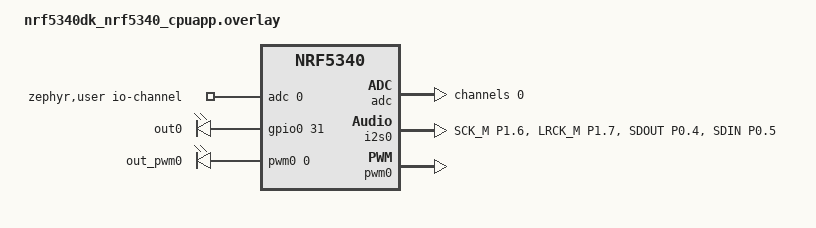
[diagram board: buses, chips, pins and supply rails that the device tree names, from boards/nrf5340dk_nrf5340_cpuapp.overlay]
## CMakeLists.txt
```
#
# Copyright (c) 2018 Nordic Semiconductor
#
# SPDX-License-Identifier: LicenseRef-Nordic-5-Clause
#
cmake_minimum_required(VERSION 3.20.0)

find_package(Zephyr REQUIRED HINTS $ENV{ZEPHYR_BASE})
project(app)

target_sources(app PRIVATE
  src/main.c
  src/app_peripherals.c
  src/app_threads.c
  src/app_config.c
  src/pwm_drv/pwm_drv.c
  src/adc_drv/adc_drv.c
  src/i2s_drv/i2s_drv.c
  src/audio/audio.c
  src/adc_drv/vendor/nordic/nrf_adc_drv.c
  src/examples/i2s_sample/i2s_sample.c
)

include_directories(${CMAKE_SOURCE_DIR}/src)

zephyr_library_include_directories(
  src/
  src/audio/
  src/pwm_drv/
  src/adc_drv/
  src/i2s_drv/
  src/adc_drv/vendor/nordic/
  src/examples/i2s_sample/
)
```

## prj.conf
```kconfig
#
# Copyright (c) 2018 Nordic Semiconductor
#
# SPDX-License-Identifier: LicenseRef-Nordic-5-Clause
#

### Logger module
CONFIG_LOG=y
CONFIG_UART_CONSOLE=y

### RTOS settings
CONFIG_POLL=y # For signal events

# Zephyr peripheral drivers
CONFIG_GPIO=y
CONFIG_PWM=y
CONFIG_I2S=y
CONFIG_ADC=n # Confilcts when CONFIG_NRFX_SAADC is used
CONFIG_ADC_ASYNC=n # Confilcts when CONFIG_NRFX_SAADC is used

### NRF perpheral drivers
# Configure SAADC to work in continuos mode triggered by TIMER2
# and with GPPI events and tasks manager between SAADC and TIMER2 
CONFIG_NRFX_SAADC=y
CONFIG_NRFX_GPPI=y
CONFIG_NRFX_TIMER2=y

CONFIG_MAIN_THREAD_PRIORITY=8
```

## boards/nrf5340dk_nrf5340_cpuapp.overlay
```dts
// To get started, press Ctrl+Space to bring up the completion menu and view the available nodes.

// You can also use the buttons in the sidebar to perform actions on nodes.
// Actions currently available include:

// * Enabling / disabling the node
// * Adding the bus to a bus
// * Removing the node
// * Connecting ADC channels

// For more help, browse the DeviceTree documentation at https: //docs.zephyrproject.org/latest/guides/dts/index.html
// You can also visit the nRF DeviceTree extension documentation at https: //docs.nordicsemi.com/bundle/nrf-connect-vscode/page/guides/ncs_configure_app.html#devicetree-support-in-the-extension

/ {
	zephyr,user {
		io-channels = <&adc 0>; // ADC peripheral channel 0
	};

	outputs {
		compatible = "gpio-leds";
		out0: out {
			gpios = <&gpio0 31 GPIO_ACTIVE_HIGH>;
			status = "okay";
		};
	};

	outputs_pwm {
		compatible = "pwm-leds";
		out_pwm0: out_pwm_0 {
			pwms = <&pwm0 0 PWM_MSEC(20) PWM_POLARITY_INVERTED>;
		};
	};

};

&adc {
	#address-cells = <1>; // Identify the number of cells (each cell is 32bits address) to identify a child node in the devicetree
	#size-cells = <0>; // Identify the dimension of each cell (0 means no dimension, no memory is associated to an ADC channel in the devicetree)

	channel@0 {
		reg = <0>; // channel0 address inside adc node (32bit), no dimension is specified
		zephyr,gain = "ADC_GAIN_1";
		zephyr,reference = "ADC_REF_INTERNAL";
		zephyr,acquisition-time = <ADC_ACQ_TIME_DEFAULT>;
		zephyr,resolution = <12>;
		zephyr,input-positive = <NRF_SAADC_AIN2>;
	};
};

&pinctrl {
	i2s0_default_alt: i2s0_default_alt {
		group1 {
			psels = <NRF_PSEL(I2S_SCK_M, 1, 6)>,
			        <NRF_PSEL(I2S_LRCK_M, 1, 7)>,
			        <NRF_PSEL(I2S_SDOUT, 0, 4)>,
			        <NRF_PSEL(I2S_SDIN, 0, 5)>;
		};
	};
};

&i2s0 {
	status = "okay";
	pinctrl-0 = <&i2s0_default_alt>;
	pinctrl-names = "default";
	clock-source = "ACLK";
};

&clock {
	hfclkaudio-frequency = <11289600>;
};

&gpio0 {
	status = "okay";
};

&pwm0 {
	status = "okay";
};
```

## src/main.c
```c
#define SYNTHETIZER 0
#define SIG_GENERATOR 2

/* System */
#include <zephyr/kernel.h>
#include <zephyr/devicetree.h>
#include <zephyr/device.h>
/* Debug support */
#include <zephyr/sys/printk.h>
/* Zephyr peripheral drivers */
#include <zephyr/drivers/gpio.h>
/* Custom peripheral drivers */
#include "pwm_drv.h"

/* Apps */
#if (SYNTHETIZER == 1)
#include "i2s_sample.h"
#else
#include "audio.h"
#endif

/* Support */
#include <math.h>

/* PWM data structure */
const struct pwm_dt_spec out_pwm = PWM_DT_SPEC_GET(DT_NODELABEL(out_pwm0));

/* GPIO data structures */
static const struct gpio_dt_spec out = GPIO_DT_SPEC_GET(DT_NODELABEL(out0), gpios);

/* Static function prototypes */
static int periph_config(void);

/* I2S data structures */
#if (SYNTHETIZER == 1)
const struct device *my_i2s_dev = DEVICE_DT_GET(DT_NODELABEL(i2s0));
#endif

/**
 * @brief main
 *
 * @return int
 */
int main(void)
{
	if (periph_config() < 0)
	{
		printk("Error\n");
		return 1;
	}

#if (SIG_GENERATOR == 1)
	pwm_drv_sin_gen(1000);

	while (1)
	{
		pwm_drv_sig_out(&out_pwm);
	}
#else

#if (SYNTHETIZER == 1)
	i2s_sample_config(my_i2s_dev);
	i2s_sample(my_i2s_dev);
#else
	audio_process();
#endif

	k_sleep(K_FOREVER);
	while (1)
	{
	}
#endif

	return 1;
}

static int periph_config(void)
{
	if (!gpio_is_ready_dt(&out))
	{
		printk("Error: PWM device is not ready\n");
		return -1;
	}

	if (gpio_pin_configure_dt(&out, GPIO_OUTPUT_ACTIVE) != 0)
	{
		printk("Errore configurazione pin\n");
		return -1;
	}

#if (SIG_GENERATOR == 1)
	if (pwm_drv_config(&out_pwm) < 0)
	{
		printk("Error: PWM device is not ready\n");
		return -1;
	}
#endif
	return 0;
}
```

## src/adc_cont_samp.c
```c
#include <zephyr/kernel.h>
#include <zephyr/sys/printk.h>

/* Include header for nrfx drivers */
#include <nrfx_saadc.h>
#include <nrfx_timer.h>
#include <helpers/nrfx_gppi.h>
#if defined(DPPI_PRESENT)
#include <nrfx_dppi.h>
#else
#include <nrfx_ppi.h>
#endif

#include "adc_cont_samp.h"

#define SAADC_BUFFER_SIZE 1
#define SAADC_SAMPLE_INTERVAL_US 5
#define TIMER_INSTANCE_NUMBER 2
#define SAADC_INPUT_PIN NRF_SAADC_INPUT_AIN0

const nrfx_timer_t timer_instance = NRFX_TIMER_INSTANCE(TIMER_INSTANCE_NUMBER);          // Timer 2 instance
static nrfx_saadc_channel_t channel = NRFX_SAADC_DEFAULT_CHANNEL_SE(SAADC_INPUT_PIN, 0); // Channel 0 default config
static int16_t saadc_sample_buffer[2][SAADC_BUFFER_SIZE];
static uint32_t saadc_current_buffer = 0;

static int timer_config(void);
static int saadc_config(void);
static int configure_ppi(void);

volatile int32_t average = 0;

static void saadc_event_handler(nrfx_saadc_evt_t const *p_event)
{
    nrfx_err_t err;
    switch (p_event->type)
    {
    case NRFX_SAADC_EVT_READY: // First buffer initialized event

        /* Enable timer (this also enable the sampling triggered by the PPI) */
        nrfx_timer_enable(&timer_instance);
        break;

    case NRFX_SAADC_EVT_BUF_REQ: // A buffer has been required by the ADC

        /* Set up the next available buffer. Alternate between buffer 0 and 1 */
        err = nrfx_saadc_buffer_set(saadc_sample_buffer[(saadc_current_buffer++) % 2], SAADC_BUFFER_SIZE);
        if (err != NRFX_SUCCESS)
        {
            printk("ADC; buffer set error\r\n");
            return;
        }
        break;

    case NRFX_SAADC_EVT_DONE: // A buffer has been filled
/*
        // Mesure the average ADC value inside the buffer 
        int16_t max = INT16_MIN;
        int16_t min = INT16_MAX;
        int16_t current_value;
        for (int i = 0; i < p_event->data.done.size; i++)
        {
            current_value = ((int16_t *)(p_event->data.done.p_buffer))[i];
            average += current_value;
            if (current_value > max)
            {
                max = current_value;
            }
            if (current_value < min)
            {
                min = current_value;
            }
        }
        average = average / p_event->data.done.size;
        printk("ADC; average = %d\r\n", average);
        break;
        */
    default:
        printk("ADC; event error\r\n");
        break;
    }
}

void adc_continuos_sampling_sample(void)
{
    timer_config();
    saadc_config();
    configure_ppi();
}

static int timer_config(void)
{
    nrfx_err_t err;

    nrfx_timer_config_t timer_config = NRFX_TIMER_DEFAULT_CONFIG(1000000); // Timer frequency
    err = nrfx_timer_init(&timer_instance, &timer_config, NULL);           // The third parameter is the reference to the event handler (NULL if none)
    if (err != NRFX_SUCCESS)
    {
        printk("TIMER; init error\r\n");
        return -1;
    }

    uint32_t timer_ticks = nrfx_timer_us_to_ticks(&timer_instance, SAADC_SAMPLE_INTERVAL_US);
    nrfx_timer_extended_compare(&timer_instance, NRF_TIMER_CC_CHANNEL0, timer_ticks, NRF_TIMER_SHORT_COMPARE0_CLEAR_MASK, false); // Compare the timer value with the number of ticks passed and creates an event, also specify an action (reset the timer)

    return 0;
}

static int saadc_config(void)
{
    nrfx_err_t err;

    /* Connect ADC interrupt to nrfx interrupt handler */
    IRQ_CONNECT(DT_IRQN(DT_NODELABEL(adc)),           // Extract irq number
                DT_IRQ(DT_NODELABEL(adc), priority),  // Extract irq priority
                nrfx_isr, nrfx_saadc_irq_handler, 0); // Connect the interrupt to the nrf interrupt handler

    err = nrfx_saadc_init(DT_IRQ(DT_NODELABEL(adc), priority));
    if (err != NRFX_SUCCESS)
    {
        printk("ADC; init error\r\n");
        return -1;
    }

    channel.channel_config.gain = NRF_SAADC_GAIN1_6;
    err = nrfx_saadc_channels_config(&channel, 1);
    if (err != NRFX_SUCCESS)
    {
        printk("ADC; channel config error\r\n");
        return -1;
    }

    nrfx_saadc_adv_config_t saadc_adv_config = NRFX_SAADC_DEFAULT_ADV_CONFIG; // ADC default advanced config
    err = nrfx_saadc_advanced_mode_set(BIT(0),
                                       NRF_SAADC_RESOLUTION_12BIT,
                                       &saadc_adv_config,
                                       saadc_event_handler); // If NULL it will work in blocking mode
    if (err != NRFX_SUCCESS)
    {
        printk("ADC; advanced config error\r\n");
        return -1;
    }

    /* Buffer 1 */
    err = nrfx_saadc_buffer_set(saadc_sample_buffer[0], SAADC_BUFFER_SIZE);
    if (err != NRFX_SUCCESS)
    {
        printk("ADC; buffer set error\r\n");
        return -1;
    }

    /* Buffer 2 */
    err = nrfx_saadc_buffer_set(saadc_sample_buffer[1], SAADC_BUFFER_SIZE);
    if (err != NRFX_SUCCESS)
    {
        printk("ADC; buffer set error\r\n");
        return -1;
    }

    /* Set a buffer for sampling triggered later through PPI */
    err = nrfx_saadc_mode_trigger();
    if (err != NRFX_SUCCESS)
    {
        printk("ADC; ADC trigger error\r\n");
        return -1;
    }

    return 0;
}

static int configure_ppi(void)
{
    nrfx_err_t err;
    /* Declare variables used to hold the (D)PPI channel number */
    uint8_t m_saadc_sample_ppi_channel;
    uint8_t m_saadc_start_ppi_channel;

    /* Trigger ADC SAMPLE TASK */
    err = nrfx_gppi_channel_alloc(&m_saadc_sample_ppi_channel);
    if (err != NRFX_SUCCESS)
    {
        printk("ADC; task trigger error\r\n");
        return -1;
    }

    /* Trigger ADC START task */
    err = nrfx_gppi_channel_alloc(&m_saadc_start_ppi_channel);
    if (err != NRFX_SUCCESS)
    {
        printk("ADC; task trigger error\r\n");
        return -1;
    }

    /* Trigger task sample from timer */
    nrfx_gppi_channel_endpoints_setup(m_saadc_sample_ppi_channel,
                                      nrfx_timer_compare_event_address_get(&timer_instance, NRF_TIMER_CC_CHANNEL0), // Set COMPARE0 timer event as trigger
                                      nrf_saadc_task_address_get(NRF_SAADC, NRF_SAADC_TASK_SAMPLE));                // Set SAMPLE ADC task as action

    /* Trigger task start from end event */
    nrfx_gppi_channel_endpoints_setup(m_saadc_start_ppi_channel,
                                      nrf_saadc_event_address_get(NRF_SAADC, NRF_SAADC_EVENT_END),  // Set END ADC event as trigger (the current buffer is full, BUFF_REQ event is triggerd)
                                      nrf_saadc_task_address_get(NRF_SAADC, NRF_SAADC_TASK_START)); // Set START ADC task as action (start sampling again)

    /* Enable both (D)PPI channels */
    nrfx_gppi_channels_enable(BIT(m_saadc_sample_ppi_channel));
    nrfx_gppi_channels_enable(BIT(m_saadc_start_ppi_channel));

    return 0;
}
```

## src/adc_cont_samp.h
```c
void adc_continuos_sampling_sample(void);
```

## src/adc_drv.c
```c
/* System */
#include <zephyr/devicetree.h>
#include <zephyr/device.h>

#if CONFIG_NRFX_TIMER2 /** TODO should be configurable the timer */
#include <nrfx_timer.h>
#endif
#ifdef CONFIG_NRFX_GPPI
#include <helpers/nrfx_gppi.h>
#if defined(DPPI_PRESENT)
#include <nrfx_dppi.h>
#else
#include <nrfx_ppi.h>
#endif
#endif

#include "adc_drv.h"

#define SAADC_SAMPLE_INTERVAL_US 5
#define TIMER_INSTANCE_NUMBER 2

#if CONFIG_NRFX_TIMER2 /** TODO should be configurable the timer */
/** TODO
 * Hardwired
 */
const nrfx_timer_t timer_instance = NRFX_TIMER_INSTANCE(TIMER_INSTANCE_NUMBER); // Timer 2 instance
#endif

#ifndef CONFIG_ADC
static int adc_drv_adv_config(adc_handler_t *adc_handler);
#endif
#ifdef CONFIG_NRFX_TIMER2
static int adc_drv_adv_timer_config(void);
#endif
#ifdef CONFIG_NRFX_GPPI
static int adc_drv_adv_ppi_configure(void);
#endif

adc_drv_adv_buffer_settings_t *saadc_buffer;
static uint32_t saadc_current_buffer = 0;

static void saadc_event_handler(nrfx_saadc_evt_t const *p_event)
{
	nrfx_err_t err;
	switch (p_event->type)
	{
	case NRFX_SAADC_EVT_READY: // First buffer initialized event

		/* Enable timer (this also enable the sampling triggered by the PPI) */
		nrfx_timer_enable(&timer_instance);
		break;

	case NRFX_SAADC_EVT_BUF_REQ: // A buffer has been required by the ADC

		/* Set up the next available buffer. Alternate between buffer 0 and 1 */
		err = nrfx_saadc_buffer_set(&saadc_buffer->buffer[((saadc_current_buffer)*saadc_buffer->buffer_size)], saadc_buffer->buffer_size);
		saadc_current_buffer = (saadc_current_buffer + 1) % saadc_buffer->buffers_number;
		if (err != NRFX_SUCCESS)
		{
			printk("ADC; buffer set error\r\n");
			return;
		}
		break;

	case NRFX_SAADC_EVT_DONE: // A buffer has been filled
		break;

	default:
		printk("ADC; event error\r\n");
		break;
	}
}

int adc_drv_config(adc_handler_t *adc_handler)
{
#ifdef CONFIG_ADC
	if (!device_is_ready(adc_handler->adc_dev))
	{
		return -1;
	}

	adc_channel_setup(adc_handler->adc_dev, &adc_handler->channel_cfg);
#else
	if (adc_handler->mode == ADC_DRV_ASYNC_CONT)
	{
		saadc_buffer = &adc_handler->opt.adv_settings.buffer_config;
		adc_handler->opt.adv_settings.saadc_event_handler = saadc_event_handler;
		adc_drv_adv_timer_config();
		adc_drv_adv_config(adc_handler);
		adc_drv_adv_ppi_configure();
	}
#endif

	return 0;
}

int adc_drv_read(adc_handler_t *adc_handler)
{
	switch (adc_handler->mode)
	{
	case ADC_DRV_SYNC:
#ifdef CONFIG_ADC
		if (adc_read(adc_handler->adc_dev, &adc_handler->sequence) != 0)
		{
			return -1;
		}
#else
		return -1;
#endif
		break;
	case ADC_DRV_ASYNC:
#ifdef CONFIG_ADC_ASYNC
		adc_read_async(adc_handler->adc_dev, &adc_handler->sequence, adc_handler->opt.adc_sig);
#else
		return -1;
#endif
		break;
	case ADC_DRV_ASYNC_CONT:
		break;
	default:
		return -1;
		break;
	}

	return 0;
}

#ifndef CONFIG_ADC
static int adc_drv_adv_config(adc_handler_t *adc_handler)
{
	nrfx_err_t err;

	/* Connect ADC interrupt to nrfx interrupt handler */
	/** TODO
	 *  DT_NODELABEL(adc) too specific
	 */
	IRQ_CONNECT(DT_IRQN(DT_NODELABEL(adc)),			  // Extract irq number
				DT_IRQ(DT_NODELABEL(adc), priority),  // Extract irq priority
				nrfx_isr, nrfx_saadc_irq_handler, 0); // Connect the interrupt to the nrf interrupt handler

	err = nrfx_saadc_init(DT_IRQ(DT_NODELABEL(adc), priority)); /** TODO DT_NODELABEL(adc) too specific */
	if (err != NRFX_SUCCESS)
	{
		printk("ADC; init error\r\n");
		return -1;
	}

	nrfx_saadc_channel_t channel = NRFX_SAADC_DEFAULT_CHANNEL_SE(NRF_SAADC_INPUT_AIN0, 0);
	err = nrfx_saadc_channels_config(&channel, 1);
	if (err != NRFX_SUCCESS)
	{
		printk("ADC; channel config error\r\n");
		return -1;
	}

	if (adc_handler->opt.adv_settings.adv_default)
	{
		nrfx_saadc_adv_config_t saadc_adv_config = NRFX_SAADC_DEFAULT_ADV_CONFIG;
		err = nrfx_saadc_advanced_mode_set(BIT(0),
										   12, /** TODO should be configurable */
										   &saadc_adv_config,
										   adc_handler->opt.adv_settings.saadc_event_handler); // If NULL it will work in blocking mode
	}
	else
	{
		err = nrfx_saadc_advanced_mode_set(BIT(0),
										   12, /** TODO should be configurable */
										   &adc_handler->opt.adv_settings.saadc,
										   adc_handler->opt.adv_settings.saadc_event_handler); // If NULL it will work in blocking mode
	}

	if (err != NRFX_SUCCESS)
	{
		printk("ADC; advanced config error\r\n");
		return -1;
	}

	for (int i = 0; i < adc_handler->opt.adv_settings.buffer_config.buffers_number; i++)
	{
		err = nrfx_saadc_buffer_set(&adc_handler->opt.adv_settings.buffer_config.buffer[i*adc_handler->opt.adv_settings.buffer_config.buffer_size], adc_handler->opt.adv_settings.buffer_config.buffer_size);
		if (err != NRFX_SUCCESS)
		{
			printk("ADC; buffer set error\r\n"); 
			return -1;
		}
	}

	/* Set a buffer for sampling triggered later through PPI */
	err = nrfx_saadc_mode_trigger();
	if (err != NRFX_SUCCESS)
	{
		printk("ADC; ADC trigger error\r\n");
		return -1;
	}

	return 0;
}
#endif

#ifdef CONFIG_NRFX_TIMER2 /** TODO should be configurable the timer*/
static int adc_drv_adv_timer_config(void)
{
	/** TODO
	 * Hardwired
	 */
	nrfx_err_t err;

	nrfx_timer_config_t timer_config = NRFX_TIMER_DEFAULT_CONFIG(1000000); // Timer frequency
	err = nrfx_timer_init(&timer_instance, &timer_config, NULL);		   // The third parameter is the reference to the event handler (NULL if none)
	if (err != NRFX_SUCCESS)
	{
		printk("TIMER; init error\r\n");
		return -1;
	}

	uint32_t timer_ticks = nrfx_timer_us_to_ticks(&timer_instance, SAADC_SAMPLE_INTERVAL_US);
	nrfx_timer_extended_compare(&timer_instance, NRF_TIMER_CC_CHANNEL0, timer_ticks, NRF_TIMER_SHORT_COMPARE0_CLEAR_MASK, false); // Compare the timer value with the number of ticks passed and creates an event, also specify an action (reset the timer)

	return 0;
}
#endif

#ifdef CONFIG_NRFX_GPPI
static int adc_drv_adv_ppi_configure(void)
{
	nrfx_err_t err;
	/* Declare variables used to hold the (D)PPI channel number */
	uint8_t m_saadc_sample_ppi_channel;
	uint8_t m_saadc_start_ppi_channel;

	/* Trigger ADC SAMPLE TASK */
	err = nrfx_gppi_channel_alloc(&m_saadc_sample_ppi_channel);
	if (err != NRFX_SUCCESS)
	{
		printk("ADC; task trigger error\r\n");
		return -1;
	}

	/* Trigger ADC START task */
	err = nrfx_gppi_channel_alloc(&m_saadc_start_ppi_channel);
	if (err != NRFX_SUCCESS)
	{
		printk("ADC; task trigger error\r\n");
		return -1;
	}

	/* Trigger task sample from timer */
	nrfx_gppi_channel_endpoints_setup(m_saadc_sample_ppi_channel,
									  nrfx_timer_compare_event_address_get(&timer_instance, NRF_TIMER_CC_CHANNEL0), // Set COMPARE0 timer event as trigger
									  nrf_saadc_task_address_get(NRF_SAADC, NRF_SAADC_TASK_SAMPLE));				// Set SAMPLE ADC task as action

	/* Trigger task start from end event */
	nrfx_gppi_channel_endpoints_setup(m_saadc_start_ppi_channel,
									  nrf_saadc_event_address_get(NRF_SAADC, NRF_SAADC_EVENT_END),	// Set END ADC event as trigger (the current buffer is full, BUFF_REQ event is triggerd)
									  nrf_saadc_task_address_get(NRF_SAADC, NRF_SAADC_TASK_START)); // Set START ADC task as action (start sampling again)

	/* Enable both (D)PPI channels */
	nrfx_gppi_channels_enable(BIT(m_saadc_sample_ppi_channel));
	nrfx_gppi_channels_enable(BIT(m_saadc_start_ppi_channel));

	return 0;
}
#endif
```

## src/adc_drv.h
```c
/* System */
#include <zephyr/kernel.h>

/* Peripheral drivers */
#ifdef CONFIG_ADC
#include <zephyr/drivers/adc.h>
#include <zephyr/dt-bindings/adc/nrf-saadc.h>
#endif
#ifdef CONFIG_NRFX_SAADC
#include <nrfx_saadc.h>
#endif
/* Standard C libraries */
#include <stdint.h>
#include <stdbool.h>

#ifndef CONFIG_ADC
typedef void (*saadc_event_handler_t)(nrfx_saadc_evt_t const *p_event);
#endif

typedef enum ADC_DRV_MODE
{
    ADC_DRV_SYNC,       // Blocking mode
    ADC_DRV_ASYNC,      // Non blocking mode
    ADC_DRV_ASYNC_CONT, // Non blocking and continuos mode
} adc_drv_mode_t;

typedef struct
{
#if CONFIG_NRFX_TIMER2
    // const nrfx_timer_t *timer_instance;
#endif
} adc_drv_adv_timer_settings_t;

typedef struct
{
    uint8_t m_saadc_sample_ppi_channel;
    uint8_t m_saadc_start_ppi_channel;
} adc_drv_adv_ppi_settings_t;

typedef struct
{
    int16_t *buffer;
    uint8_t buffers_number;
    uint16_t buffer_size;
} adc_drv_adv_buffer_settings_t;

typedef struct
{
    adc_drv_adv_timer_settings_t timer;
    adc_drv_adv_ppi_settings_t ppi;
#ifndef CONFIG_ADC
    nrfx_saadc_adv_config_t saadc;
    saadc_event_handler_t saadc_event_handler;
#endif
    adc_drv_adv_buffer_settings_t buffer_config;
    bool adv_default;
} adc_drv_adv_settings_t;

typedef struct
{
    struct k_poll_signal *adc_sig;
    adc_drv_adv_settings_t adv_settings;
} adc_drv_options_t;

typedef struct
{
    const struct device *adc_dev; // ADC instance
#ifdef CONFIG_ADC
    struct adc_channel_cfg channel_cfg; // ADC channel configurations
    struct adc_sequence sequence;       // ADC global configurations (buffer, resolution, channel reference)
#endif
    adc_drv_mode_t mode;
    adc_drv_options_t opt;
} adc_handler_t;

int adc_drv_config(adc_handler_t *adc_handler);
int adc_drv_read(adc_handler_t *adc_handler);
```

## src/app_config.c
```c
#include "app_config.h"

K_SEM_DEFINE(adc_sem, 0, 1);
K_SEM_DEFINE(i2s_sem, 0, 1);

/** @brief Slab memory structure
 *
 * A slab memory structure organizes data into blocks
 * of memory with the same size and aligned.
 *
 * The memory is then accessed per block (not single data)
 * This means;
 * 1) More blocks that are smaller → higher granularity, lower audio delay,
 *    but increased overhead due to more frequent accesses to different blocks.
 * 2) Fewer blocks that are bigger → lower overhead (fewer memory accesses,
 *    potentially reducing distortion), but increased audio delay since more
 *    time is needed to wait for a block to become available for new data.
 *
 * The main advantages of this data structure are;
 * 1) Deterministic memory access to the data
 * 2) No memory fragmentation of the data
 */
K_MEM_SLAB_DEFINE(tx_0_mem_slab, BLOCK_SIZE, 2, 4);
```

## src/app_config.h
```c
#ifndef APP_CONFIG
#define APP_CONFIG

/* System */
#include <zephyr/kernel.h>

#define NUM_OF_BUFFERS 2

#define DATA_BUFFER_SIZE_16 (10000)
#define DATA_BUFFER_SIZE_8 (DATA_BUFFER_SIZE_16 * 2)

#define NUM_BLOCKS NUM_OF_BUFFERS // Each block is a buffer (2 buffers; 1 to read and 1 to write simultaneosly + 2 backup buffers)
#define BLOCK_SIZE (DATA_BUFFER_SIZE_8) // Buffer size multiplied by the number of bytes per data

extern int16_t *data_buffer[NUM_OF_BUFFERS];
extern volatile int block_adc_idx; // Index of the current block being processed by the ADC
extern volatile int block_i2s_idx; // Index of the current block being processed by the I2S

extern struct k_sem adc_sem;
extern struct k_sem i2s_sem;

extern struct k_mem_slab tx_0_mem_slab;

extern struct k_poll_signal adc_sig;
extern struct k_poll_event adc_event;

#endif /* APP_CONFIG */
```

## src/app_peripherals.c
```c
/* System */
#include <zephyr/devicetree.h>

#include "app_peripherals.h"
#include "app_config.h"

/* I2S data structures */
const struct device *i2s_dev = DEVICE_DT_GET(DT_NODELABEL(i2s0));
i2s_drv_config_t hi2s;
static struct i2s_config i2s_cfg_local = {0};

/* ADC data structures */
const struct device *adc = DEVICE_DT_GET(DT_NODELABEL(adc));
adc_handler_t hadc;

int16_t *data_buffer[NUM_OF_BUFFERS];
volatile int block_adc_idx = 0;
volatile int block_i2s_idx = 0xFF;

/**
 * @brief saadc_event_handler
 *
 * @param p_event
 */
static void saadc_event_handler(nrfx_saadc_evt_t const *p_event)
{
    switch (p_event->type)
    {
    case NRFX_SAADC_EVT_READY: // First buffer initialized event

        /* Enable timer (this also enable the sampling triggered by the PPI) */
        nrfx_timer_enable(hadc.nrf_saadc_config.timer.timer_instance);
        break;

    case NRFX_SAADC_EVT_BUF_REQ: // A buffer has been required by the ADC
        k_sem_give(&adc_sem);
        break;

    case NRFX_SAADC_EVT_DONE: // A buffer has been filled
        break;

    default:
        printk("ADC; event error\r\n");
        break;
    }
}

/**
 * @brief adc_config
 *
 * @return int
 */
int adc_config(void)
{
    volatile void *adc_block;
    int err;
    /* Connect ADC interrupt to nrfx interrupt handler */
    IRQ_CONNECT(DT_IRQN(DT_NODELABEL(adc)),           // Extract irq number
                DT_IRQ(DT_NODELABEL(adc), priority),  // Extract irq priority
                nrfx_isr, nrfx_saadc_irq_handler, 0); // Connect the interrupt to the nrf interrupt handler

    err = nrfx_saadc_init(DT_IRQ(DT_NODELABEL(adc), priority));
    if (err != NRFX_SUCCESS)
    {
        printk("ADC; init error\r\n");
        return -1;
    }

    for (int i = 0; i < 2; i++)
    {
        /* One block allocated for each cycle */
        if (k_mem_slab_alloc(&tx_0_mem_slab, (void **)&adc_block, K_FOREVER) < 0)
        {
            printf("Failed to allocate TX block\n");
            return -1;
        }
        data_buffer[i] = (uint16_t *)adc_block;
    }

    hadc.mode = ADC_DRV_ASYNC_CONT;
    hadc.nrf_saadc_config.adv_default = 1;
    hadc.nrf_saadc_config.buffer_config.buffer = data_buffer; // The ADC internal easyDMA automatically transfers data to the RAM region identified by this buffer
    hadc.nrf_saadc_config.buffer_config.buffers_number = NUM_OF_BUFFERS;
    hadc.nrf_saadc_config.buffer_config.buffer_size = DATA_BUFFER_SIZE_16;
    hadc.nrf_saadc_config.saadc_event_handler = saadc_event_handler;
    hadc.nrf_saadc_config.saadc_ch.channel_config.gain = ADC_GAIN_4;
    hadc.nrf_saadc_config.saadc_ch.pin_p = NRF_SAADC_INPUT_AIN2;

    hadc.nrf_saadc_config.timer.timer_instance = NULL;      // Default
    hadc.nrf_saadc_config.timer.timer_config = NULL;        // Default
    hadc.nrf_saadc_config.timer.saadc_sampling_time = 22; // 22us -> 44100 kHz

    return adc_drv_config(&hadc); 
}

/**
 * @brief i2s_config
 *
 * @return int
 */
int i2s_config(void)
{
    /* Check device is ready */
    if (!device_is_ready(i2s_dev))
    {
        printf("I2S device not ready\n");
        return -1;
    }

    /* Configure I2S */
    hi2s.dev_i2s = i2s_dev;
    hi2s.i2s_cfg_dir = I2S_DIR_TX;
    i2s_cfg_local.word_size = 16;
    i2s_cfg_local.channels = 1;//CHANNELS_NUMBER;
    i2s_cfg_local.format = I2S_FMT_DATA_FORMAT_I2S;
    i2s_cfg_local.frame_clk_freq = SAMPLE_FREQ;
    i2s_cfg_local.block_size = DATA_BUFFER_SIZE_8;
    i2s_cfg_local.timeout = 2000;
    i2s_cfg_local.options = I2S_OPT_FRAME_CLK_MASTER | I2S_OPT_BIT_CLK_MASTER;
    i2s_cfg_local.mem_slab = &tx_0_mem_slab;

    hi2s.i2s_cfg = &i2s_cfg_local;

    return i2s_drv_config(&hi2s);
}
```

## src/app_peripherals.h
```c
#ifndef APP_PERIPHERALS
#define APP_PERIPHERALS

/* System */
#include <zephyr/kernel.h>
#include <zephyr/device.h>
/* Peripheral drivers */
#include "i2s_drv.h"
#include "adc_drv.h"

#define STEREO 1 // MAX98357A always exspects input data in stereo format (it selects the channnel via  SD pin)
#if (STEREO == 1)
#define CHANNELS_NUMBER 2
#else
#define CHANNELS_NUMBER 1
#endif

#define SAMPLE_FREQ 44100

/* I2S data structures */
extern const struct device *i2s_dev;
extern i2s_drv_config_t hi2s;

/* ADC data structures */
extern const struct device *adc;
extern adc_handler_t hadc;

int adc_config(void);
int i2s_config(void);

#endif /* APP_PERIPHERALS */
```

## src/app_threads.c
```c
#include "app_threads.h"
#include "app_peripherals.h"
#include "app_config.h"

K_THREAD_STACK_DEFINE(i2s_stack, I2S_STACK_SIZE);
K_THREAD_STACK_DEFINE(adc_stack, ADC_STACK_SIZE);

struct k_thread i2s_tcb;
struct k_thread adc_tcb;

/**
 * @brief adc_thread
 *
 * @param p1
 * @param p2
 * @param p3
 */
void adc_thread(void *p1, void *p2, void *p3)
{
    while (1)
    {
        k_sem_take(&adc_sem, K_FOREVER);

        /* Set up the next available buffer block */
        block_adc_idx = (block_adc_idx) ? 0 : 1;

        nrfx_timer_disable(hadc.nrf_saadc_config.timer.timer_instance);
        while (block_adc_idx == block_i2s_idx)
            ;
        nrfx_timer_enable(hadc.nrf_saadc_config.timer.timer_instance);

        if (nrfx_saadc_buffer_set(data_buffer[block_adc_idx], DATA_BUFFER_SIZE_16) != NRFX_SUCCESS)
        {
            printk("ADC; buffer set error\r\n");
            return;
        }
        k_sem_give(&i2s_sem);
    }
}

/**
 * @brief i2s_thread
 *
 * @param p1
 * @param p2
 * @param p3
 */
void i2s_thread(void *p1, void *p2, void *p3)
{
    static int first = 1;

    while (1)
    {
        k_sem_take(&i2s_sem, K_FOREVER);

        block_i2s_idx = (block_adc_idx) ? 0 : 1; // Toggle between the two blocks

        
        for (int i = 0; i < DATA_BUFFER_SIZE_16; i++)
            data_buffer[block_i2s_idx][i] = (data_buffer[block_i2s_idx][i] << 3);

        /* Write data over I2S queue */
        if (i2s_write(i2s_dev, data_buffer[block_i2s_idx], DATA_BUFFER_SIZE_8) < 0)
        {
            printf("Could not write TX block\n");
            return;
        }

        if (first)
        {
            first = 0;
            if (i2s_trigger(i2s_dev, I2S_DIR_TX, I2S_TRIGGER_START) < 0)
            {
                printf("Could not trigger I2S\n");
                return;
            }
        }
        k_sleep(K_MSEC(200));
        block_i2s_idx = 0xFF;
    }
}

/**
 * @brief adc_thread_create
 *
 */
void adc_thread_create(void)
{
    k_thread_create(&adc_tcb, adc_stack, ADC_STACK_SIZE,
                    adc_thread,
                    NULL, NULL, NULL,
                    ADC_PRIORITY, 0, K_MSEC(100));
}

/**
 * @brief i2s_thread_create
 *
 */
void i2s_thread_create(void)
{
    k_thread_create(&i2s_tcb, i2s_stack, I2S_STACK_SIZE,
                    i2s_thread,
                    NULL, NULL, NULL,
                    I2S_PRIORITY, 0, K_MSEC(10));
}
```

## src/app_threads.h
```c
/* System */
#include <zephyr/kernel.h>

#ifndef APP_THREADS
#define APP_THREADS

/* I2S thread */
#define I2S_STACK_SIZE 1024
#define I2S_PRIORITY 6

/* ADC thread */
#define ADC_STACK_SIZE 1024
#define ADC_PRIORITY 7

void adc_thread_create(void);
void i2s_thread_create(void);

#endif /* APP_THREADS */
```

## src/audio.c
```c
#include <stdio.h>
#include <math.h>
#include <zephyr/kernel.h>
#include <zephyr/sys/iterable_sections.h>
#include <zephyr/drivers/i2s.h>

/* Constants */
#define PI (float)3.14159265
#define VOLUME_REF (32768.0 / 10)

/* Tone specs */
#define TONE_FREQ 500
#define DURATION_SEC (float)3.0

/* Audio specs */
#define STEREO 1 // MAX98357A always exspects input data in stereo format (it selects the channnel via  SD pin)
#define VOLUME_LEV 5
#define SAMPLE_FREQ 44100
#define NUM_BLOCKS 4 // Each block is a buffer (2 buffers; 1 to read and 1 to write simultaneosly + 2 backup buffers) 
#if (STEREO == 1)
#define CHANNELS_NUMBER 2
#else
#define CHANNELS_NUMBER 1
#endif

/* Computations */
#define AMPLITUDE (VOLUME_REF * VOLUME_LEV)
#define SAMPLE_NO (SAMPLE_FREQ / TONE_FREQ)
#define CHUNK_DURATION (float)((float)SAMPLE_NO * (float)NUM_BLOCKS / (float)SAMPLE_FREQ)
#define NUM_OF_REP (uint16_t)((float)DURATION_SEC / (float)CHUNK_DURATION)

/** @brief Sine wave data buffer */
static int16_t sin_data[SAMPLE_NO];

#define BLOCK_SIZE (CHANNELS_NUMBER * sizeof(sin_data))

/** @brief Slab memory structure
 *
 * A slab memory structure organizes data into blocks
 * of memory with the same size and aligned.
 *
 * The memory is then accessed per block (not single data)
 * This means;
 * 1) More blocks that are smaller → higher granularity, lower audio delay,
 *    but increased overhead due to more frequent accesses to different blocks.
 * 2) Fewer blocks that are bigger → lower overhead (fewer memory accesses,
 *    potentially reducing distortion), but increased audio delay since more
 *    time is needed to wait for a block to become available for new data.
 *
 * The main advantages of this data structure are;
 * 1) Deterministic memory access to the data
 * 2) No memory fragmentation of the data
 */
K_MEM_SLAB_DEFINE(tx_0_mem_slab, BLOCK_SIZE, NUM_BLOCKS, 4);

static void generate_sine_wave(void);
static void fill_buf(int16_t *tx_block);

void *tx_block[NUM_BLOCKS] = {0}; // Pointer to the blocks

/**
 * @brief I2S configuration
 *
 * @param dev_i2s
 * @return int
 */
int i2s_config(const struct device *dev_i2s)
{
    struct i2s_config i2s_cfg = {0};

    /* Check device is ready */
    if (!device_is_ready(dev_i2s))
    {
        printf("I2S device not ready\n");
        return -1;
    }

    /* Configure I2S */
    i2s_cfg.word_size = 16;
    i2s_cfg.channels = CHANNELS_NUMBER;
    i2s_cfg.format = I2S_FMT_DATA_FORMAT_I2S;
    i2s_cfg.frame_clk_freq = SAMPLE_FREQ;
    i2s_cfg.block_size = BLOCK_SIZE;
    i2s_cfg.timeout = 2000;
    i2s_cfg.options = I2S_OPT_FRAME_CLK_MASTER | I2S_OPT_BIT_CLK_MASTER;
    i2s_cfg.mem_slab = &tx_0_mem_slab;

    if (i2s_configure(dev_i2s, I2S_DIR_TX, &i2s_cfg) < 0)
    {
        printf("Failed to configure I2S\n");
        return -1;
    }

    return 0;
}

/**
 * @brief i2s example
 *
 * @param dev_i2s
 * @return int
 */
int i2s_sample(const struct device *dev_i2s)
{
    volatile uint32_t tx_idx = 0;

    /* Generate sine wave */
    generate_sine_wave();

    /* Allocate slab blocks */
    for (tx_idx = 0; tx_idx < NUM_BLOCKS; tx_idx++)
    {
        /* One block allocated for each cycle */
        if (k_mem_slab_alloc(&tx_0_mem_slab, &tx_block[tx_idx], K_FOREVER) < 0)
        {
            printf("Failed to allocate TX block\n");
            return -1;
        }
        /* Fill each block with data */
        fill_buf((int16_t *)tx_block[tx_idx]);
    }

    /* Write initial block (needed by I2S to know at least one block is ready)*/
    if (i2s_write(dev_i2s, tx_block[tx_idx++], BLOCK_SIZE) < 0)
    {
        printf("Could not write TX block\n");
        return -1;
    }

    /* Start transmission */
    if (i2s_trigger(dev_i2s, I2S_DIR_TX, I2S_TRIGGER_START) < 0)
    {
        printf("Could not trigger I2S\n");
        return -1;
    }

    /* Send remaining blocks in loop */
    uint16_t rep_num = NUM_OF_REP;
    for (int loop = 0; loop < rep_num; loop++)
    {
        for (; tx_idx < NUM_BLOCKS;)
        {
            if (i2s_write(dev_i2s, tx_block[tx_idx++], BLOCK_SIZE) < 0)
            {
                printf("Write failed at block %d\n", tx_idx);
                return -1;
            }
        }
        tx_idx = 0; // loop again
    }

    /* Drain (kill the I2S communication)*/
    if (i2s_trigger(dev_i2s, I2S_DIR_TX, I2S_TRIGGER_DRAIN) < 0)
    {
        printf("Could not drain I2S\n");
        return -1;
    }

    printf("I2S streaming complete.\n");
    return 0;
}

/**
 * @brief Create the sinusoidal wave
 */
static void generate_sine_wave(void)
{
    float freq = (float)TONE_FREQ;
    float sample_rate = (float)SAMPLE_FREQ;

    memset(sin_data, 0, sizeof(sin_data));
    for (int i = 0; i < SAMPLE_NO; i++)
    {
        float angle = 2.0f * PI * freq * ((float)i / sample_rate);
        sin_data[i] = (int16_t)((float)AMPLITUDE * sinf(angle));
    }
}

/**
 * @brief Fill I2S TX buffer with stereo data
 *
 * This code also simulates a stereo signal by shifting
 * the right channel with the signal delayed by 90 degree.
 */
static void fill_buf(int16_t *tx_block)
{
    for (int i = 0; i < SAMPLE_NO; i++)
    {
#if (STEREO == 1)
        tx_block[2 * i] = sin_data[i]; // Left channel
        tx_block[2 * i + 1] = 0;   // Right channel
#if (0)
        /* Fake right channel */
        int r_idx = (i + SAMPLE_NO / 4) % SAMPLE_NO;
        tx_block[2 * i + 1] = sin_data[r_idx]; // Right channel (90° shifted)
#endif
#else
        tx_block[i] = sin_data[i]; // Left channel
#endif
    }
}
```

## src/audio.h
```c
/* System */
#include <zephyr/kernel.h>
/* Zephyr peripheral drivers */
#include <zephyr/drivers/i2s.h>

int i2s_config(const struct device *dev_i2s);
int i2s_sample(const struct device *dev_i2s);
```
